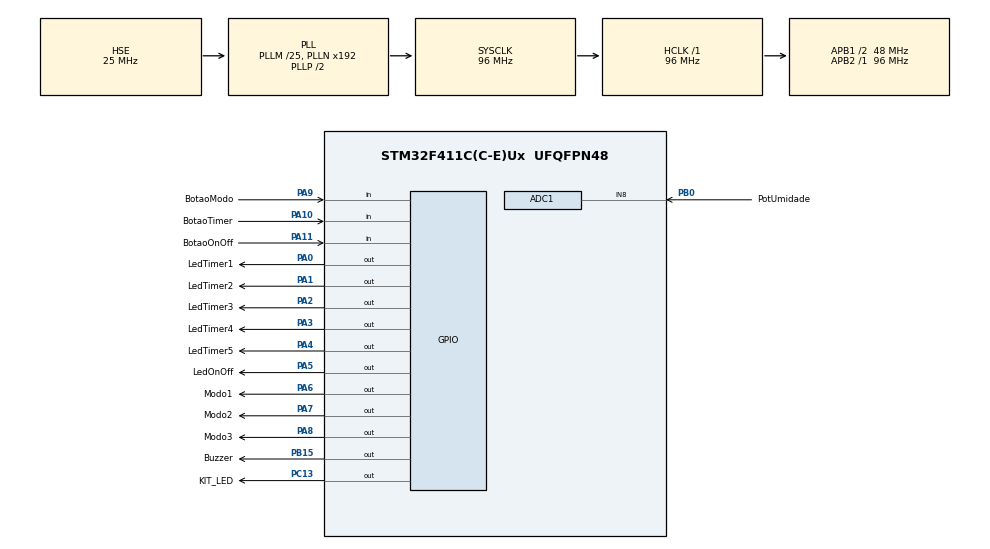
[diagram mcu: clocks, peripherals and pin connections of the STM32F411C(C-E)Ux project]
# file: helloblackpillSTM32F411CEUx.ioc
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ADC1.Channel-0\#ChannelRegularConversion=ADC_CHANNEL_8
ADC1.ContinuousConvMode=ENABLE
ADC1.NbrOfConversionFlag=1
ADC1.Rank-0\#ChannelRegularConversion=1
ADC1.SamplingTime-0\#ChannelRegularConversion=ADC_SAMPLETIME_3CYCLES
ADC1.master=1
Mcu.Family=STM32F4
Mcu.Name=STM32F411C(C-E)Ux
Mcu.Package=UFQFPN48
NVIC.PriorityGroup=NVIC_PRIORITYGROUP_4
NVIC.TIM2_IRQn=true\:0\:0\:false\:false\:true\:true\:true\:true
PA0-WKUP.GPIO_Label=LedTimer1
PA0-WKUP.Signal=GPIO_Output
PA1.GPIO_Label=LedTimer2
PA1.Signal=GPIO_Output
PA10.GPIO_Label=BotaoTimer
PA10.Signal=GPIO_Input
PA11.GPIO_Label=BotaoOnOff
PA11.Signal=GPIO_Input
PA13.Mode=Serial_Wire
PA13.Signal=SYS_JTMS-SWDIO
PA14.Mode=Serial_Wire
PA14.Signal=SYS_JTCK-SWCLK
PA2.GPIO_Label=LedTimer3
PA2.Signal=GPIO_Output
PA3.GPIO_Label=LedTimer4
PA3.Signal=GPIO_Output
PA4.GPIO_Label=LedTimer5
PA4.Signal=GPIO_Output
PA5.GPIO_Label=LedOnOff
PA5.Signal=GPIO_Output
PA6.GPIO_Label=Modo1
PA6.Signal=GPIO_Output
PA7.GPIO_Label=Modo2
PA7.Signal=GPIO_Output
PA8.GPIO_Label=Modo3
PA8.Signal=GPIO_Output
PA9.GPIO_Label=BotaoModo
PA9.Signal=GPIO_Input
PB0.GPIO_Label=PotUmidade
PB0.Signal=ADCx_IN8
PB15.GPIO_Label=Buzzer
PB15.Signal=GPIO_Output
PC13-ANTI_TAMP.GPIO_Label=KIT_LED
PC13-ANTI_TAMP.Signal=GPIO_Output
PC14-OSC32_IN.Mode=LSE-External-Oscillator
PC14-OSC32_IN.Signal=RCC_OSC32_IN
PC15-OSC32_OUT.Mode=LSE-External-Oscillator
PC15-OSC32_OUT.Signal=RCC_OSC32_OUT
PH0\ -\ OSC_IN.Mode=HSE-External-Oscillator
PH0\ -\ OSC_IN.Signal=RCC_OSC_IN
PH1\ -\ OSC_OUT.Mode=HSE-External-Oscillator
PH1\ -\ OSC_OUT.Signal=RCC_OSC_OUT
ProjectManager.HeapSize=0x200
ProjectManager.StackSize=0x400
ProjectManager.TargetToolchain=Makefile
RCC.48MHZClocksFreq_Value=48000000
RCC.AHBFreq_Value=96000000
RCC.APB1CLKDivider=RCC_HCLK_DIV2
RCC.APB1Freq_Value=48000000
RCC.APB1TimFreq_Value=96000000
RCC.APB2Freq_Value=96000000
RCC.APB2TimFreq_Value=96000000
RCC.CortexFreq_Value=96000000
RCC.HCLKFreq_Value=96000000
RCC.HSE_VALUE=25000000
RCC.HSI_VALUE=16000000
RCC.PLLM=25
RCC.PLLSourceVirtual=RCC_PLLSOURCE_HSE
RCC.SYSCLKFreq_VALUE=96000000
RCC.SYSCLKSource=RCC_SYSCLKSOURCE_PLLCLK
RCC.VCOOutputFreq_Value=192000000
SH.ADCx_IN8.0=ADC1_IN8,IN8
TIM2.Period=999999
TIM2.Prescaler=83
VP_TIM2_VS_ClockSourceINT.Mode=Internal
board=custom

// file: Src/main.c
/* USER CODE BEGIN Header */
/**
  ******************************************************************************
  * @file           : main.c
  * @brief          : Main program body
  ******************************************************************************
  * @attention
  *
  * Copyright (c) 2022 STMicroelectronics.
  * All rights reserved.
  *
  * This software is licensed under terms that can be found in the LICENSE file
  * in the root directory of this software component.
  * If no LICENSE file comes with this software, it is provided AS-IS.
  *
  ******************************************************************************
  */
/* USER CODE END Header */
#include "main.h"

ADC_HandleTypeDef hadc1;

TIM_HandleTypeDef htim2;

/* USER CODE BEGIN PV */
//Variaveis Timer
uint8_t LedsTimer[5] = {LedTimer1_Pin, LedTimer2_Pin, LedTimer3_Pin, LedTimer4_Pin, LedTimer5_Pin,};
uint8_t LedTimerAceso = 0;
uint8_t EstadoBotaoTimer = GPIO_PIN_SET;

//Tempo setado
uint8_t Tempo[5] = {10, 20, 30, 40, 50};
uint8_t TempoSetado;

//Indicador Liga Desliga
uint8_t EstadoSistema = 1;
uint8_t EstadoBotaoOnOff = GPIO_PIN_SET;

float Umidade;
float UmidadeAnterior = 0;//Umidade no Inicio do Ciclo
uint8_t VolumeDeAgua;
uint8_t VariacaoUmidade;

uint8_t ModoAtual = 1;
uint8_t EstadoAnteriorBotaoModo = GPIO_PIN_SET;

// Variáveis para os modelos matemáticos
float Vazao = 2.5; //Vazao em L/s
float AreaIrrigada = 10.0; //Area Irrigada
float UmidadeDesejada = 50.0; //Umidade alvo

float k; //Constante de Ajuste
float TempoNecessario = 0; //Tempo de Irrigacao
float Capacidade = 200; //Capacidade Hidrica do solo
float AguaDesnecessaria;//Gasto de agua
/* USER CODE END PV */

void SystemClock_Config(void);
static void MX_GPIO_Init(void);
static void MX_ADC1_Init(void);
static void MX_TIM2_Init(void);
/* USER CODE BEGIN PFP */
void ExecutarModo(void);

//Função para ler o valor do ADC
uint32_t Read_ADC_Value(void)
{
  HAL_ADC_Start(&hadc1); // Inicia a conversão
  HAL_ADC_PollForConversion(&hadc1, HAL_MAX_DELAY); // Aguarda a conversão
  return HAL_ADC_GetValue(&hadc1); // Retorna o valor lido
}

/* USER CODE END PFP */

int main(void)
{

  /* MCU Configuration--------------------------------------------------------*/

  /* Reset of all peripherals, Initializes the Flash interface and the Systick. */
  HAL_Init();

  /* Configure the system clock */
  SystemClock_Config();

  /* Initialize all configured peripherals */
  MX_GPIO_Init();
  MX_ADC1_Init();
  MX_TIM2_Init();
  /* USER CODE BEGIN 2 */

  HAL_GPIO_WritePin(GPIOA, LedsTimer[LedTimerAceso], GPIO_PIN_SET);
  TempoSetado = Tempo[LedTimerAceso];

  HAL_GPIO_WritePin(KIT_LED_GPIO_Port, KIT_LED_Pin, GPIO_PIN_SET);

  HAL_GPIO_WritePin(Modo1_GPIO_Port, Modo1_Pin, GPIO_PIN_SET);

  HAL_TIM_Base_Start_IT(&htim2);

  HAL_ADC_Start(&hadc1);  // Inicia a conversão contínua do ADC

  HAL_TIM_Base_Start_IT(&htim2);
  /* USER CODE END 2 */

  /* Infinite loop */
  /* USER CODE BEGIN WHILE */
  while (1)
  {
 //Leitura do Potenciometro Umidade -------------------------------------------------------------------------------------------------------------------------------------------
     // Lê o valor do ADC
     uint32_t adc_value = Read_ADC_Value();

     // Converte o valor do ADC para Umidade (0% a 100%)
     Umidade = (float)((adc_value * 100) / 4095);
 //----------------------------------------------------------------------------------------------------------------------------------------------------------------------------
     //modelos matemáticos
     VolumeDeAgua = Vazao * TempoSetado; //Volume gasto por ciclo

     VariacaoUmidade = (Umidade - UmidadeAnterior); //Variação de umidade

     k = TempoSetado / (VariacaoUmidade * 0.01);//aumentou tantos % a cada tantos minutos

     TempoNecessario = k * (UmidadeDesejada - Umidade);;//Tempo ate chegar a umidade desejada

     AguaDesnecessaria = VolumeDeAgua - (((UmidadeDesejada - Umidade)/100)*Capacidade*AreaIrrigada); //Calculo do desperdicio

 //Configuracao do Timer-------------------------------------------------------------------------------------------------------------------------------------------------------
    // Lê o estado atual do botão
    uint8_t EstadoAnteriorBotaoTimer = HAL_GPIO_ReadPin(BotaoTimer_GPIO_Port, BotaoTimer_Pin);

    if (EstadoBotaoTimer == GPIO_PIN_SET && EstadoAnteriorBotaoTimer == GPIO_PIN_RESET && EstadoSistema == 1)
    {
     HAL_Delay(100);
      HAL_GPIO_WritePin(GPIOA, LedsTimer[LedTimerAceso], GPIO_PIN_RESET);

      LedTimerAceso = (LedTimerAceso + 1) % 5;

      HAL_GPIO_WritePin(GPIOA, LedsTimer[LedTimerAceso], GPIO_PIN_SET);
      HAL_Delay(50);
    }

    EstadoBotaoTimer = EstadoAnteriorBotaoTimer;
    TempoSetado = Tempo[LedTimerAceso];
 //----------------------------------------------------------------------------------------------------------------------------------------------------------------------------
 //Configuracao Liga-Desliga---------------------------------------------------------------------------------------------------------------------------------------------------
     // Configuração Liga-Desliga
     uint8_t EstadoAnteriorBotaoOnOff = HAL_GPIO_ReadPin(BotaoOnOff_GPIO_Port, BotaoOnOff_Pin);
     if (EstadoBotaoOnOff == GPIO_PIN_SET && EstadoAnteriorBotaoOnOff == GPIO_PIN_RESET) {
         HAL_Delay(100);
         EstadoSistema = !EstadoSistema;
     }
     EstadoBotaoOnOff = EstadoAnteriorBotaoOnOff;

     HAL_GPIO_WritePin(KIT_LED_GPIO_Port, KIT_LED_Pin, EstadoSistema == 0 ? GPIO_PIN_RESET : GPIO_PIN_SET);

     if (EstadoSistema == 0) {
         UmidadeAnterior = Umidade;
         ExecutarModo();
     }else{
       HAL_GPIO_WritePin(GPIOA, LedOnOff_Pin, GPIO_PIN_RESET);
     }
 //----------------------------------------------------------------------------------------------------------------------------------------------------------------------------
 //Configuracao Configuração Modos---------------------------------------------------------------------------------------------------------------------------------------------
 // Leitura do estado atual do botão Modo
 uint8_t EstadoAtualBotaoModo = HAL_GPIO_ReadPin(BotaoModo_GPIO_Port, BotaoModo_Pin);

   if (EstadoAnteriorBotaoModo == GPIO_PIN_SET && EstadoAtualBotaoModo == GPIO_PIN_RESET && EstadoSistema == 1) {
       HAL_Delay(100);
       ModoAtual = (ModoAtual % 3) + 1;

       HAL_GPIO_WritePin(Modo1_GPIO_Port, Modo1_Pin, (ModoAtual == 1) ? GPIO_PIN_SET : GPIO_PIN_RESET);
       HAL_GPIO_WritePin(Modo2_GPIO_Port, Modo2_Pin, (ModoAtual == 2) ? GPIO_PIN_SET : GPIO_PIN_RESET);
       HAL_GPIO_WritePin(Modo3_GPIO_Port, Modo3_Pin, (ModoAtual == 3) ? GPIO_PIN_SET : GPIO_PIN_RESET);
 }
   EstadoAnteriorBotaoModo = EstadoAtualBotaoModo;

 //----------------------------------------------------------------------------------------------------------------------------------------------------------------------------
 }
 }
 /* USER CODE END 3 */

  void ExecutarModo(void) {
   static uint8_t Modo1Executado = 0;

   static uint32_t TempoAnteriorModo2 = 0;
   static uint8_t LedOnOffStateModo2 = 0;

   switch (ModoAtual) {
       case 1: //Modo 1, Manual
           if (!Modo1Executado) {
               //Liga
               HAL_GPIO_WritePin(GPIOA, LedOnOff_Pin, GPIO_PIN_SET);

               HAL_Delay(TempoSetado * 1000);
               //Desliga
               HAL_GPIO_WritePin(GPIOA, LedOnOff_Pin, GPIO_PIN_RESET);

               EstadoSistema = 1; //Sistema desligado
               Modo1Executado = 1;
 }
           break;

       case 2: {//Modo 2, Automatizado
             uint32_t TempoAtual = HAL_GetTick();
             //Verifica se o tempo definido no timer ja passou
             if (TempoAtual - TempoAnteriorModo2 >= (TempoSetado * 1000)) {
                 TempoAnteriorModo2 = TempoAtual;

                 LedOnOffStateModo2 = !LedOnOffStateModo2;
                 HAL_GPIO_WritePin(GPIOA, LedOnOff_Pin, LedOnOffStateModo2 ? GPIO_PIN_SET : GPIO_PIN_RESET);
             }
 }
           break;

       case 3: { //Modo 3, Controlador de Umidade
            float umidadeMinima = 35;
            float umidadeDesejada = 50;

             //Verifica a umidade atual
            if (Umidade < umidadeMinima) {
                HAL_GPIO_WritePin(GPIOA, LedOnOff_Pin, GPIO_PIN_SET);
            } else if (Umidade >= umidadeDesejada) {
                 HAL_GPIO_WritePin(GPIOA, LedOnOff_Pin, GPIO_PIN_RESET);
     }

     HAL_Delay(10);
 }
           break;

       default:
           break;
   }

   if (EstadoSistema == 1) {
       Modo1Executado = 0;
       LedOnOffStateModo2 = 0;
   }
 }

 void TIM2_IRQHandler(void)
 {
     // Verifica se a interrupção foi gerada pelo timer
     if (__HAL_TIM_GET_FLAG(&htim2, TIM_FLAG_UPDATE) != RESET)
     {
         __HAL_TIM_CLEAR_FLAG(&htim2, TIM_FLAG_UPDATE);

         if (Umidade > 65.0 || Umidade < 25.0)
         {
          HAL_GPIO_WritePin(GPIOB, Buzzer_Pin, GPIO_PIN_SET);  //Liga o buzzer
          EstadoSistema = 1;
         }
         else
         {
             HAL_GPIO_WritePin(GPIOB, Buzzer_Pin, GPIO_PIN_RESET); //Desliga o buzzer (nível baixo)
         }
     }
 }
void SystemClock_Config(void)
{
  RCC_OscInitTypeDef RCC_OscInitStruct = {0};
  RCC_ClkInitTypeDef RCC_ClkInitStruct = {0};

  /** Configure the main internal regulator output voltage
  */
  __HAL_RCC_PWR_CLK_ENABLE();
  __HAL_PWR_VOLTAGESCALING_CONFIG(PWR_REGULATOR_VOLTAGE_SCALE1);

  /** Initializes the RCC Oscillators according to the specified parameters
  * in the RCC_OscInitTypeDef structure.
  */
  RCC_OscInitStruct.OscillatorType = RCC_OSCILLATORTYPE_HSE;
  RCC_OscInitStruct.HSEState = RCC_HSE_ON;
  RCC_OscInitStruct.PLL.PLLState = RCC_PLL_ON;
  RCC_OscInitStruct.PLL.PLLSource = RCC_PLLSOURCE_HSE;
  RCC_OscInitStruct.PLL.PLLM = 25;
  RCC_OscInitStruct.PLL.PLLN = 192;
  RCC_OscInitStruct.PLL.PLLP = RCC_PLLP_DIV2;
  RCC_OscInitStruct.PLL.PLLQ = 4;
  if (HAL_RCC_OscConfig(&RCC_OscInitStruct) != HAL_OK)
  {
    Error_Handler();
  }

  /** Initializes the CPU, AHB and APB buses clocks
  */
  RCC_ClkInitStruct.ClockType = RCC_CLOCKTYPE_HCLK|RCC_CLOCKTYPE_SYSCLK
                              |RCC_CLOCKTYPE_PCLK1|RCC_CLOCKTYPE_PCLK2;
  RCC_ClkInitStruct.SYSCLKSource = RCC_SYSCLKSOURCE_PLLCLK;
  RCC_ClkInitStruct.AHBCLKDivider = RCC_SYSCLK_DIV1;
  RCC_ClkInitStruct.APB1CLKDivider = RCC_HCLK_DIV2;
  RCC_ClkInitStruct.APB2CLKDivider = RCC_HCLK_DIV1;

  if (HAL_RCC_ClockConfig(&RCC_ClkInitStruct, FLASH_LATENCY_3) != HAL_OK)
  {
    Error_Handler();
  }
}

static void MX_ADC1_Init(void)
{

  ADC_ChannelConfTypeDef sConfig = {0};

  /** Configure the global features of the ADC (Clock, Resolution, Data Alignment and number of conversion)
  */
  hadc1.Instance = ADC1;
  hadc1.Init.ClockPrescaler = ADC_CLOCK_SYNC_PCLK_DIV4;
  hadc1.Init.Resolution = ADC_RESOLUTION_12B;
  hadc1.Init.ScanConvMode = DISABLE;
  hadc1.Init.ContinuousConvMode = ENABLE;
  hadc1.Init.DiscontinuousConvMode = DISABLE;
  hadc1.Init.ExternalTrigConvEdge = ADC_EXTERNALTRIGCONVEDGE_NONE;
  hadc1.Init.ExternalTrigConv = ADC_SOFTWARE_START;
  hadc1.Init.DataAlign = ADC_DATAALIGN_RIGHT;
  hadc1.Init.NbrOfConversion = 1;
  hadc1.Init.DMAContinuousRequests = DISABLE;
  hadc1.Init.EOCSelection = ADC_EOC_SINGLE_CONV;
  if (HAL_ADC_Init(&hadc1) != HAL_OK)
  {
    Error_Handler();
  }

  /** Configure for the selected ADC regular channel its corresponding rank in the sequencer and its sample time.
  */
  sConfig.Channel = ADC_CHANNEL_8;
  sConfig.Rank = 1;
  sConfig.SamplingTime = ADC_SAMPLETIME_3CYCLES;
  if (HAL_ADC_ConfigChannel(&hadc1, &sConfig) != HAL_OK)
  {
    Error_Handler();
  }

}

static void MX_TIM2_Init(void)
{

  TIM_ClockConfigTypeDef sClockSourceConfig = {0};
  TIM_MasterConfigTypeDef sMasterConfig = {0};

  htim2.Instance = TIM2;
  htim2.Init.Prescaler = 83;
  htim2.Init.CounterMode = TIM_COUNTERMODE_UP;
  htim2.Init.Period = 999999;
  htim2.Init.ClockDivision = TIM_CLOCKDIVISION_DIV1;
  htim2.Init.AutoReloadPreload = TIM_AUTORELOAD_PRELOAD_DISABLE;
  if (HAL_TIM_Base_Init(&htim2) != HAL_OK)
  {
    Error_Handler();
  }
  sClockSourceConfig.ClockSource = TIM_CLOCKSOURCE_INTERNAL;
  if (HAL_TIM_ConfigClockSource(&htim2, &sClockSourceConfig) != HAL_OK)
  {
    Error_Handler();
  }
  sMasterConfig.MasterOutputTrigger = TIM_TRGO_RESET;
  sMasterConfig.MasterSlaveMode = TIM_MASTERSLAVEMODE_DISABLE;
  if (HAL_TIMEx_MasterConfigSynchronization(&htim2, &sMasterConfig) != HAL_OK)
  {
    Error_Handler();
  }

}

static void MX_GPIO_Init(void)
{
  GPIO_InitTypeDef GPIO_InitStruct = {0};

  /* GPIO Ports Clock Enable */
  __HAL_RCC_GPIOC_CLK_ENABLE();
  __HAL_RCC_GPIOH_CLK_ENABLE();
  __HAL_RCC_GPIOA_CLK_ENABLE();
  __HAL_RCC_GPIOB_CLK_ENABLE();

  /*Configure GPIO pin Output Level */
  HAL_GPIO_WritePin(KIT_LED_GPIO_Port, KIT_LED_Pin, GPIO_PIN_RESET);

  /*Configure GPIO pin Output Level */
  HAL_GPIO_WritePin(GPIOA, LedTimer1_Pin|LedTimer2_Pin|LedTimer3_Pin|LedTimer4_Pin
                          |LedTimer5_Pin|LedOnOff_Pin|Modo1_Pin|Modo2_Pin
                          |Modo3_Pin, GPIO_PIN_RESET);

  /*Configure GPIO pin Output Level */
  HAL_GPIO_WritePin(Buzzer_GPIO_Port, Buzzer_Pin, GPIO_PIN_RESET);

  /*Configure GPIO pin : KIT_LED_Pin */
  GPIO_InitStruct.Pin = KIT_LED_Pin;
  GPIO_InitStruct.Mode = GPIO_MODE_OUTPUT_PP;
  GPIO_InitStruct.Pull = GPIO_NOPULL;
  GPIO_InitStruct.Speed = GPIO_SPEED_FREQ_LOW;
  HAL_GPIO_Init(KIT_LED_GPIO_Port, &GPIO_InitStruct);

  /*Configure GPIO pins : LedTimer1_Pin LedTimer2_Pin LedTimer3_Pin LedTimer4_Pin
                           LedTimer5_Pin LedOnOff_Pin Modo1_Pin Modo2_Pin
                           Modo3_Pin */
  GPIO_InitStruct.Pin = LedTimer1_Pin|LedTimer2_Pin|LedTimer3_Pin|LedTimer4_Pin
                          |LedTimer5_Pin|LedOnOff_Pin|Modo1_Pin|Modo2_Pin
                          |Modo3_Pin;
  GPIO_InitStruct.Mode = GPIO_MODE_OUTPUT_PP;
  GPIO_InitStruct.Pull = GPIO_NOPULL;
  GPIO_InitStruct.Speed = GPIO_SPEED_FREQ_LOW;
  HAL_GPIO_Init(GPIOA, &GPIO_InitStruct);

  /*Configure GPIO pin : Buzzer_Pin */
  GPIO_InitStruct.Pin = Buzzer_Pin;
  GPIO_InitStruct.Mode = GPIO_MODE_OUTPUT_PP;
  GPIO_InitStruct.Pull = GPIO_NOPULL;
  GPIO_InitStruct.Speed = GPIO_SPEED_FREQ_LOW;
  HAL_GPIO_Init(Buzzer_GPIO_Port, &GPIO_InitStruct);

  /*Configure GPIO pins : BotaoModo_Pin BotaoTimer_Pin BotaoOnOff_Pin */
  GPIO_InitStruct.Pin = BotaoModo_Pin|BotaoTimer_Pin|BotaoOnOff_Pin;
  GPIO_InitStruct.Mode = GPIO_MODE_INPUT;
  GPIO_InitStruct.Pull = GPIO_NOPULL;
  HAL_GPIO_Init(GPIOA, &GPIO_InitStruct);

}

void Error_Handler(void)
{
  __disable_irq();
  while (1)
  {
  }
}
